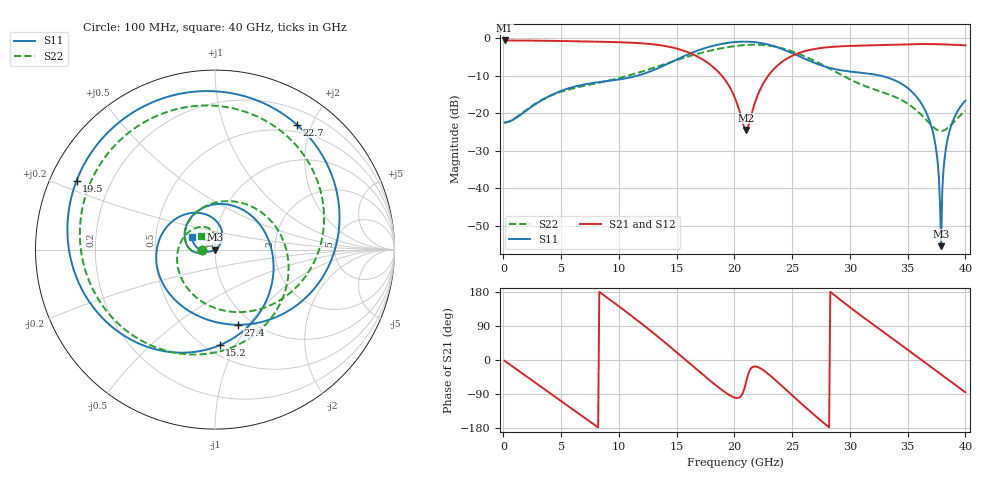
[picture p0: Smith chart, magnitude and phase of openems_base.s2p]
! B_s8_L1L3_stub_d200: L1→L3, through via (stub to L8), drill Ø0.2
! stackup: 8-layer 1.6 mm FR-4 (generic)
! ports: 1, 2
! openEMS 0.37.0, staircase, base mesh (dfine 0.035 mm), 595595 cells
# Hz S RI R 50
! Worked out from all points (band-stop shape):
!   400 points, 100 MHz to 40 GHz, reference 50 ohm
!   highest |S21| = -0.68 dB at 100 MHz (marker M1); lowest = -24.5 dB at 21 GHz (marker M2)
!   |S21| within 3 dB of the highest: start of sweep to 15.87 GHz; 25.92 GHz to end of sweep
!   lowest |S11| = -55.3 dB at 37.9 GHz (marker M3), VSWR 1.00, Z = 49.9 - j0.0824 ohm
!   |S11| at or under -10 dB: start of sweep to 11.64 GHz; 32.59 GHz to end of sweep
!   |S22| runs from -24.7 to -1.8 dB; largest |S21 - S12| = 0.021
!   S11 on the Smith chart (normalised r, x): 100 MHz: 0.86, -0.00; 15.2 GHz: 0.58, -0.86; 19.5 GHz: 0.08, +0.23; 22.7 GHz: 0.39, +1.78; 27.4 GHz: 0.86, -0.89; 40 GHz: 0.76, +0.11
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1e8  -0.0749 -0.00152  0.9243 -0.035  0.9243 -0.0349  -0.0749 -0.00166
3.6e9  -0.1557 0.0235  0.1919 -0.8959  0.1941 -0.8955  -0.1556 0.0256
6.8e9  -0.0872 0.2211  -0.7574 -0.485  -0.7552 -0.4883  -0.1174 0.1946
9.6e9  0.1866 0.2017  -0.7667 0.4317  -0.769 0.4268  0.0817 0.27
1.34e10  0.2933 -0.2671  0.3923 0.7047  0.3846 0.7086  0.4099 -0.0906
1.52e10  0.0252 -0.5332  0.6837 0.184  0.6822 0.1927  0.2341 -0.4626
1.72e10  -0.5549 -0.4457  0.4187 -0.313  0.4239 -0.3087  -0.3345 -0.5426
1.95e10  -0.7714 0.3843  -0.00589 -0.2346  -0.00333 -0.2354  -0.7529 0.0807
2.01e10  -0.6338 0.6132  -0.0259 -0.1496  -0.0244 -0.1503  -0.7219 0.2979
2.1e10  -0.2909 0.8429  0.0303 -0.0513  0.0309 -0.0511  -0.552 0.5869
2.27e10  0.4561 0.6962  0.2387 -0.1452  0.2396 -0.1423  0.0379 0.7978
2.43e10  0.6887 0.098  0.1407 -0.4824  0.1478 -0.4775  0.5126 0.5002
2.67e10  0.2651 -0.4017  -0.5326 -0.4563  -0.5218 -0.4683  0.4871 -0.172
2.74e10  0.1278 -0.4189  -0.6758 -0.2792  -0.6701 -0.2951  0.358 -0.2843
3.08e10  -0.2911 -0.1882  -0.4052 0.677  -0.4206 0.6702  -0.1855 -0.1631
3.34e10  -0.2572 0.1392  0.37 0.7208  0.3543 0.7312  -0.1479 0.0966
3.7e10  0.0394 0.0588  0.7874 -0.2568  0.7951 -0.2389  -0.00806 0.07
3.76e10  0.0172 0.0142  0.7024 -0.4327  0.714 -0.4166  -0.017 0.0569
3.79e10  -0.0015 -0.000827  0.6447 -0.511  0.6582 -0.4961  -0.0236 0.0529
3.8e10  -0.00851 -0.00451  0.6235 -0.5353  0.6376 -0.5209  -0.0261 0.052
3.83e10  -0.031 -0.0112  0.5543 -0.6027  0.5701 -0.5898  -0.0339 0.0506
4e10  -0.1303 0.0682  0.0658 -0.7937  0.0872 -0.7939  -0.076 0.0763
